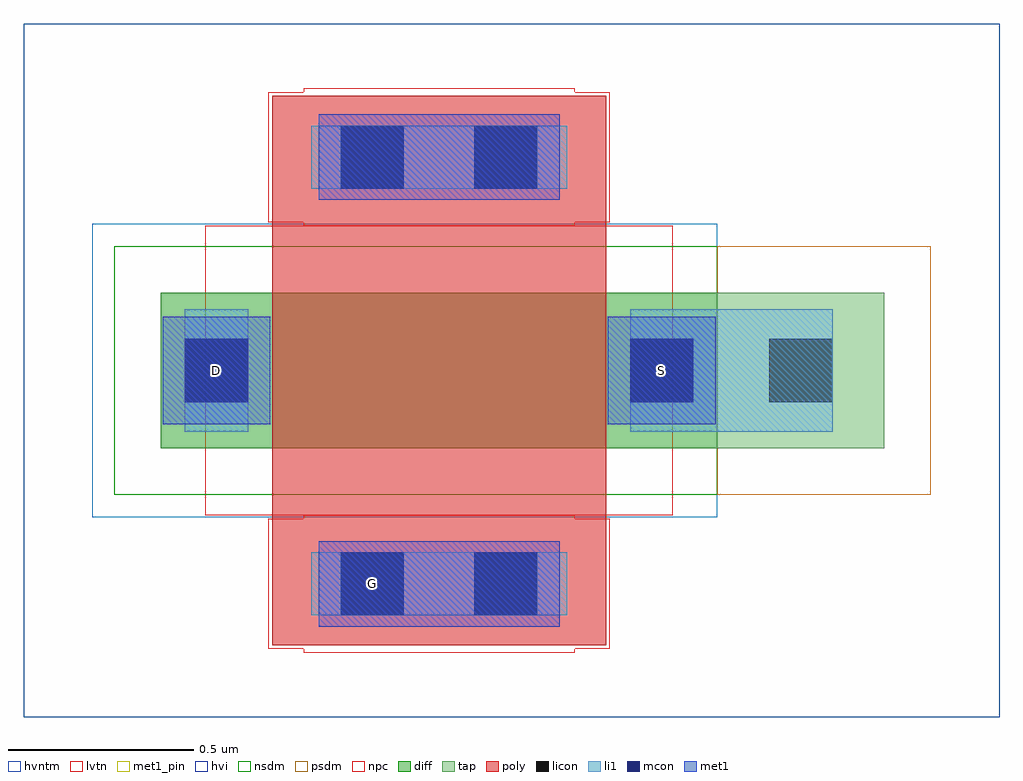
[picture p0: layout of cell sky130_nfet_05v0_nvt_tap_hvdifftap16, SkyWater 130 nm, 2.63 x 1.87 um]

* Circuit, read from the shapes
.subckt sky130_nfet_05v0_nvt_tap_hvdifftap16 D G S
XM1 S G D S sky130_fd_pr__nfet_05v0_nvt w=0.42 l=0.9
.ends

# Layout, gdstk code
import gdstk
lib = gdstk.Library(unit=1e-6, precision=1e-09)
def R(c, l, rs):  # rectangles x0, y0, x1, y1
    for r in rs: c.add(gdstk.rectangle(r[:2], r[2:], *l))
diff = (65, 20)
tap = (65, 44)
poly = (66, 20)
licon = (66, 44)
li1 = (67, 20)
mcon = (67, 44)
met1_pin = (68, 16)
met1 = (68, 20)
hvi = (75, 20)
nsdm = (93, 44)
psdm = (94, 20)
npc = (95, 20)
hvntm = (125, 20)
lvtn = (125, 44)

nfet_hvdifftap16 = lib.new_cell('nfet_hvdifftap16')
R(nfet_hvdifftap16, diff, [(0,0,1.5,0.42)])
R(nfet_hvdifftap16, tap, [(1.5,0,1.95,0.42)])
R(nfet_hvdifftap16, poly, [(0.3,-0.53,1.2,-0.2), (0.3,-0.2,1.2,0.62), (0.3,0.62,1.2,0.95)])
R(nfet_hvdifftap16, licon, [(0.485,-0.45,0.655,-0.28), (0.845,-0.45,1.015,-0.28), (0.065,0.125,0.235,0.295), (1.265,0.125,1.435,0.295), (1.64,0.125,1.81,0.295), (0.485,0.7,0.655,0.87), (0.845,0.7,1.015,0.87)])
R(nfet_hvdifftap16, li1, [(0.405,-0.45,1.095,-0.28), (0.065,0.045,0.235,0.375), (1.265,0.045,1.435,0.375), (1.64,0.045,1.81,0.375), (0.405,0.7,1.095,0.87)])
R(nfet_hvdifftap16, mcon, [(0.485,-0.45,0.655,-0.28), (0.845,-0.45,1.015,-0.28), (0.065,0.125,0.235,0.295), (1.265,0.125,1.435,0.295), (0.485,0.7,0.655,0.87), (0.845,0.7,1.015,0.87)])
R(nfet_hvdifftap16, met1, [(0.425,-0.48,1.075,-0.25), (0.005,0.065,0.295,0.355), (1.205,0.065,1.495,0.355), (0.425,0.67,1.075,0.9)])
R(nfet_hvdifftap16, hvi, [(-0.37,-0.725,2.26,1.145)])
R(nfet_hvdifftap16, nsdm, [(-0.125,-0.125,1.5,0.545)])
R(nfet_hvdifftap16, psdm, [(1.5,-0.125,2.075,0.545)])
R(nfet_hvdifftap16, npc, [(0.29,-0.54,1.21,-0.19), (0.29,0.61,1.21,0.96)])
R(nfet_hvdifftap16, hvntm, [(-0.185,-0.185,1.5,0.605)])
R(nfet_hvdifftap16, lvtn, [(0.12,-0.18,1.38,0.6)])

sky130_nfet_05v0_nvt_tap = lib.new_cell('sky130_nfet_05v0_nvt_tap_hvdifftap16')
R(sky130_nfet_05v0_nvt_tap, li1, [(1.435,0.045,1.64,0.375)])
R(sky130_nfet_05v0_nvt_tap, met1_pin, [(0.485,-0.45,0.655,-0.28), (0.065,0.125,0.235,0.295), (1.265,0.125,1.435,0.295)])
R(sky130_nfet_05v0_nvt_tap, npc, [(0.385,-0.55,0.755,-0.18), (0.745,-0.55,1.115,-0.18), (0.385,0.6,0.755,0.97), (0.745,0.6,1.115,0.97)])
sky130_nfet_05v0_nvt_tap.add(gdstk.Reference(nfet_hvdifftap16, (0,0)))
sky130_nfet_05v0_nvt_tap.add(gdstk.Label('D', (0.15,0.21), layer=68, texttype=5))
sky130_nfet_05v0_nvt_tap.add(gdstk.Label('S', (1.35,0.21), layer=68, texttype=5))
sky130_nfet_05v0_nvt_tap.add(gdstk.Label('G', (0.57,-0.365), layer=68, texttype=5))

lib.write_gds('sky130_nfet_05v0_nvt_tap_hvdifftap16.gds')
